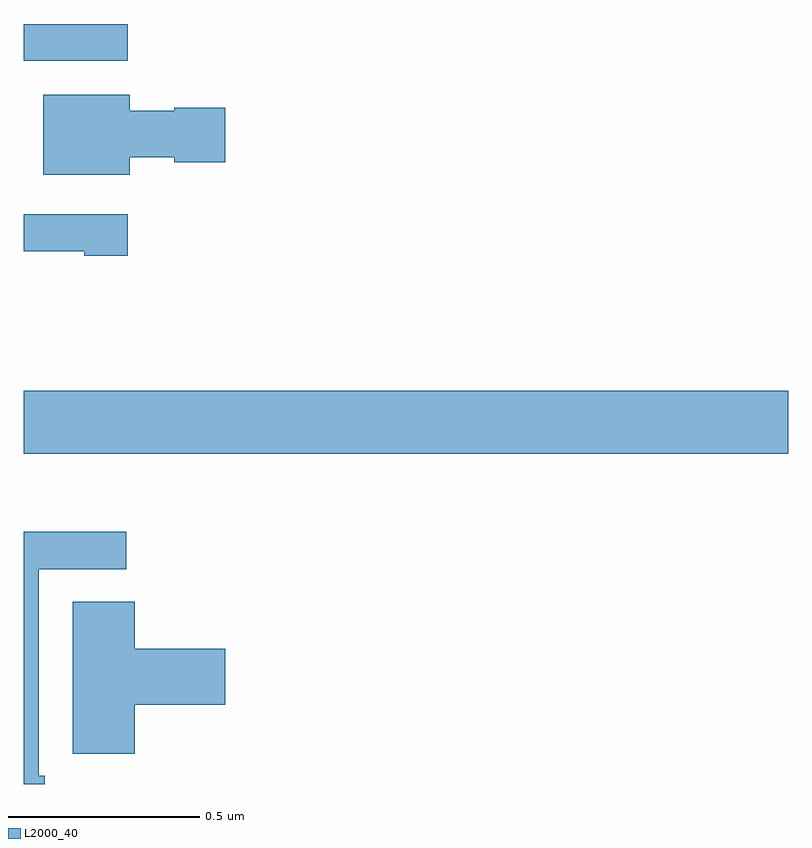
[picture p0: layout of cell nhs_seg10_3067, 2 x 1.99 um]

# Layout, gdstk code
import gdstk
lib = gdstk.Library(unit=1e-6, precision=1e-09)
def R(c, l, rs):  # rectangles x0, y0, x1, y1
    for r in rs: c.add(gdstk.rectangle(r[:2], r[2:], *l))
def P(c, l, *ps):  # polygons
    for p in ps: c.add(gdstk.Polygon(p, *l))
L2000_40 = (2000, 40)

nhs_seg10_3067 = lib.new_cell('nhs_seg10_3067')
R(nhs_seg10_3067, L2000_40, [(149,1252.364,151,1252.528), (149,1253.391,149.272,1253.487)])
P(nhs_seg10_3067, L2000_40, [(149.278,1253.138),(149.394,1253.138),(149.394,1253.126),(149.527,1253.126),(149.527,1253.268),(149.394,1253.268),(149.394,1253.26),(149.278,1253.26),(149.278,1253.302),(149.051,1253.302),(149.051,1253.093),(149.278,1253.093)],
  [(149.272,1252.989),(149,1252.989),(149,1252.893),(149.159,1252.893),(149.159,1252.881),(149.272,1252.881)],
  [(149.056,1251.522),(149.04,1251.522),(149.04,1252.062),(149.269,1252.062),(149.269,1252.16),(149,1252.16),(149,1251.5),(149.056,1251.5)],
  [(149.291,1251.707),(149.527,1251.707),(149.527,1251.854),(149.291,1251.854),(149.291,1251.977),(149.129,1251.977),(149.129,1251.579),(149.291,1251.579)])

lib.write_gds('nhs_seg10_3067.gds')
